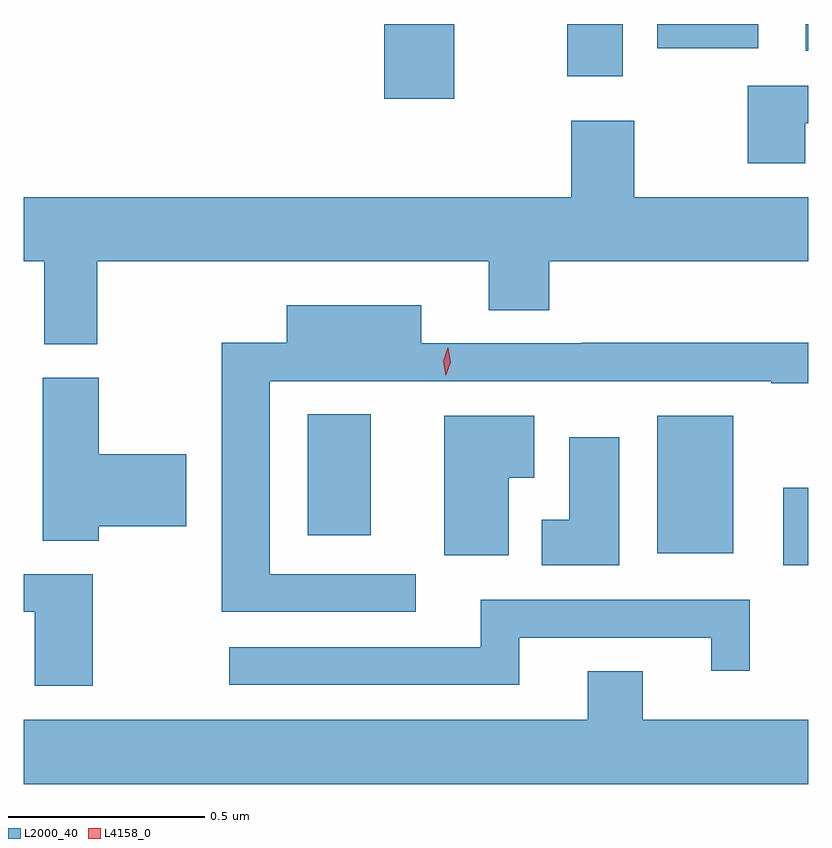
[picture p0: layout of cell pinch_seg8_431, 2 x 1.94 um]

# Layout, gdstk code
import gdstk
lib = gdstk.Library(unit=1e-6, precision=1e-09)
def R(c, l, rs):  # rectangles x0, y0, x1, y1
    for r in rs: c.add(gdstk.rectangle(r[:2], r[2:], *l))
def P(c, l, *ps):  # polygons
    for p in ps: c.add(gdstk.Polygon(p, *l))
L2000_40 = (2000, 40)
L4158_0 = (4158, 0)

pinch_seg8_431 = lib.new_cell('pinch_seg8_431')
R(pinch_seg8_431, L2000_40, [(282.677,1145.03,282.741,1145.227), (282.356,1145.06,282.55,1145.41), (281.465,1145.106,281.626,1145.414), (281.66,1146.219,281.838,1146.409), (282.127,1146.276,282.268,1146.409), (282.734,1146.341,282.741,1146.409), (282.356,1146.347,282.613,1146.409)])
P(pinch_seg8_431, L2000_40, [(282.733,1146.156),(282.741,1146.156),(282.741,1146.252),(282.586,1146.252),(282.586,1146.054),(282.733,1146.054)],
  [(280.929,1145.804),(281.927,1145.804),(281.927,1145.68),(282.08,1145.68),(282.08,1145.804),(282.741,1145.804),(282.741,1145.968),(282.297,1145.968),(282.297,1146.163),(282.137,1146.163),(282.137,1145.968),(280.741,1145.968),(280.741,1145.804),(280.793,1145.804),(280.793,1145.593),(280.929,1145.593)],
  [(281.74,1145.007),(281.368,1145.007),(281.368,1145.499),(282.646,1145.499),(282.646,1145.494),(282.741,1145.494),(282.741,1145.597),(282.163,1145.597),(282.163,1145.595),(281.755,1145.595),(281.755,1145.692),(281.411,1145.692),(281.411,1145.597),(281.246,1145.597),(281.246,1144.911),(281.74,1144.911)],
  [(280.932,1145.129),(281.155,1145.129),(281.155,1145.312),(280.932,1145.312),(280.932,1145.508),(280.79,1145.508),(280.79,1145.092),(280.932,1145.092)],
  [(281.977,1145.252),(282.043,1145.252),(282.043,1145.41),(281.813,1145.41),(281.813,1145.055),(281.977,1145.055)],
  [(282.259,1145.356),(282.131,1145.356),(282.131,1145.146),(282.062,1145.146),(282.062,1145.03),(282.259,1145.03)],
  [(280.917,1145.007),(280.741,1145.007),(280.741,1144.911),(280.769,1144.911),(280.769,1144.722),(280.917,1144.722)],
  [(282.004,1144.845),(282.494,1144.845),(282.494,1144.761),(282.592,1144.761),(282.592,1144.941),(281.906,1144.941),(281.906,1144.821),(281.265,1144.821),(281.265,1144.725),(282.004,1144.725)],
  [(282.741,1144.636),(282.319,1144.636),(282.319,1144.76),(282.179,1144.76),(282.179,1144.636),(280.741,1144.636),(280.741,1144.472),(282.741,1144.472)])
P(pinch_seg8_431, L4158_0, [(281.817,1145.512),(281.817,1145.512),(281.81,1145.549),(281.822,1145.584),(281.822,1145.584),(281.823,1145.584),(281.83,1145.547),(281.817,1145.512)])

lib.write_gds('pinch_seg8_431.gds')
